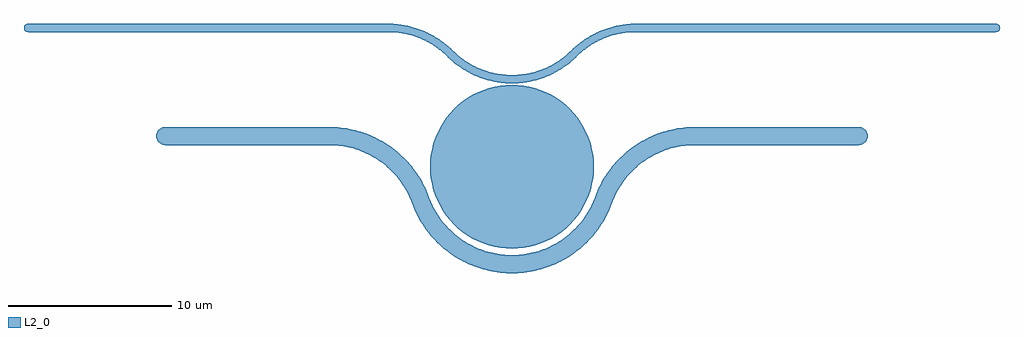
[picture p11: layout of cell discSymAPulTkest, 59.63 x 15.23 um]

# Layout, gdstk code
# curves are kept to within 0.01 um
import gdstk
lib = gdstk.Library(unit=1e-6, precision=1e-09)
def P(c, l, *ps):  # polygons
    for p in ps: c.add(gdstk.Polygon(p, *l))
L2_0 = (2, 0)

discsymapultkest = lib.new_cell('discSymAPulTkest')
P(discsymapultkest, L2_0, [(10,15),(9.643,15.013),(9.288,15.051),(8.937,15.114),(8.591,15.203),(8.253,15.315),(7.923,15.452),(7.604,15.612),(7.297,15.794),(7.004,15.997),(6.726,16.221),(6.464,16.464),(6.221,16.726),(5.997,17.004),(5.794,17.297),(5.612,17.604),(5.452,17.923),(5.315,18.253),(5.203,18.591),(5.114,18.937),(5.051,19.288),(5.013,19.643),(5,20),(5.013,20.357),(5.051,20.712),(5.114,21.063),(5.203,21.409),(5.315,21.747),(5.452,22.077),(5.612,22.396),(5.794,22.703),(5.997,22.996),(6.221,23.274),(6.464,23.536),(6.726,23.779),(7.004,24.003),(7.297,24.206),(7.604,24.388),(7.923,24.548),(8.253,24.685),(8.591,24.797),(8.937,24.886),(9.288,24.949),(9.643,24.987),(10,25),(10.357,24.987),(10.712,24.949),(11.063,24.886),(11.409,24.797),(11.747,24.685),(12.077,24.548),(12.396,24.388),(12.703,24.206),(12.996,24.003),(13.274,23.779),(13.536,23.536),(13.779,23.274),(14.003,22.996),(14.206,22.703),(14.388,22.396),(14.548,22.077),(14.685,21.747),(14.797,21.409),(14.886,21.063),(14.949,20.712),(14.987,20.357),(15,20),(14.987,19.643),(14.949,19.288),(14.886,18.937),(14.797,18.591),(14.685,18.253),(14.548,17.923),(14.388,17.604),(14.206,17.297),(14.003,17.004),(13.779,16.726),(13.536,16.464),(13.274,16.221),(12.996,15.997),(12.703,15.794),(12.396,15.612),(12.077,15.452),(11.747,15.315),(11.409,15.203),(11.063,15.114),(10.712,15.051),(10.357,15.013)],
  [(10,25.1),(9.401,25.132),(8.81,25.228),(8.327,25.356),(7.765,25.565),(7.316,25.785),(6.806,26.1),(6.409,26.403),(5.842,26.928),(5.563,27.162),(5.267,27.374),(4.958,27.566),(4.553,27.773),(4.045,27.973),(3.607,28.097),(3.07,28.194),(2.707,28.227),(2.434,28.234),(-19.566,28.234),(-19.566,28.734),(2.434,28.734),(3.033,28.702),(3.624,28.606),(4.107,28.478),(4.669,28.269),(5.118,28.049),(5.462,27.845),(5.869,27.556),(6.176,27.3),(6.66,26.846),(7.017,26.563),(7.476,26.268),(7.881,26.061),(8.389,25.861),(8.916,25.717),(9.455,25.629),(10,25.6),(10.545,25.629),(11.084,25.717),(11.611,25.861),(12.119,26.061),(12.524,26.268),(12.983,26.563),(13.34,26.846),(13.824,27.3),(14.131,27.556),(14.538,27.845),(14.882,28.049),(15.331,28.269),(15.893,28.478),(16.376,28.606),(16.967,28.702),(17.566,28.734),(39.566,28.734),(39.566,28.234),(17.566,28.234),(17.293,28.227),(16.93,28.194),(16.393,28.097),(15.955,27.973),(15.447,27.773),(15.042,27.566),(14.733,27.374),(14.437,27.162),(14.158,26.928),(13.591,26.403),(13.194,26.1),(12.684,25.785),(12.235,25.565),(11.673,25.356),(11.19,25.228),(10.599,25.132)],
  [(-19.566,28.234),(-19.663,28.254),(-19.743,28.307),(-19.796,28.387),(-19.816,28.484),(-19.796,28.581),(-19.743,28.661),(-19.663,28.714),(-19.566,28.734)],
  [(39.566,28.234),(39.566,28.734),(39.663,28.714),(39.743,28.661),(39.796,28.581),(39.816,28.484),(39.796,28.387),(39.743,28.307),(39.663,28.254)],
  [(10,13.5),(9.459,13.523),(8.922,13.59),(8.393,13.702),(7.874,13.857),(7.37,14.056),(6.885,14.295),(6.421,14.574),(6.125,14.781),(5.842,15.004),(5.44,15.367),(5.19,15.628),(4.843,16.043),(4.532,16.486),(4.258,16.953),(4.098,17.276),(3.782,18.056),(3.588,18.461),(3.278,18.974),(2.913,19.45),(2.497,19.882),(2.037,20.266),(1.536,20.596),(1.139,20.806),(0.864,20.927),(0.298,21.123),(-0.139,21.228),(-0.584,21.297),(-1.032,21.328),(-11.182,21.33),(-11.182,22.43),(-1.002,22.427),(-0.462,22.39),(0.073,22.308),(0.599,22.181),(1.113,22.011),(1.611,21.799),(1.933,21.635),(2.245,21.453),(2.546,21.254),(2.976,20.926),(3.247,20.687),(3.747,20.167),(4.186,19.595),(4.472,19.135),(4.72,18.654),(5.097,17.737),(5.302,17.337),(5.457,17.081),(5.626,16.833),(5.905,16.48),(6.212,16.151),(6.545,15.85),(6.903,15.577),(7.281,15.334),(7.679,15.124),(8.093,14.948),(8.52,14.807),(8.957,14.702),(9.401,14.633),(10,14.6),(10.599,14.633),(11.043,14.702),(11.48,14.807),(11.907,14.948),(12.321,15.124),(12.719,15.334),(13.097,15.577),(13.455,15.85),(13.788,16.151),(14.095,16.48),(14.374,16.833),(14.543,17.081),(14.698,17.337),(14.903,17.737),(15.28,18.654),(15.528,19.135),(15.814,19.595),(16.253,20.167),(16.753,20.687),(17.024,20.926),(17.454,21.254),(17.755,21.453),(18.067,21.635),(18.389,21.799),(18.887,22.011),(19.401,22.181),(19.927,22.308),(20.462,22.39),(21.002,22.427),(31.182,22.43),(31.182,21.33),(21.032,21.328),(20.584,21.297),(20.139,21.228),(19.702,21.123),(19.136,20.927),(18.861,20.806),(18.464,20.596),(17.963,20.266),(17.503,19.882),(17.087,19.45),(16.722,18.974),(16.412,18.461),(16.218,18.056),(15.902,17.276),(15.742,16.953),(15.468,16.486),(15.157,16.043),(14.81,15.628),(14.56,15.367),(14.158,15.004),(13.875,14.781),(13.579,14.574),(13.115,14.295),(12.63,14.056),(12.126,13.857),(11.607,13.702),(11.078,13.59),(10.541,13.523)],
  [(-11.182,21.33),(-11.293,21.341),(-11.396,21.373),(-11.49,21.424),(-11.571,21.491),(-11.638,21.572),(-11.689,21.666),(-11.721,21.769),(-11.732,21.88),(-11.721,21.991),(-11.689,22.094),(-11.571,22.269),(-11.49,22.336),(-11.396,22.387),(-11.293,22.419),(-11.182,22.43)],
  [(31.182,21.33),(31.182,22.43),(31.293,22.419),(31.396,22.387),(31.49,22.336),(31.571,22.269),(31.689,22.094),(31.721,21.991),(31.732,21.88),(31.721,21.769),(31.689,21.666),(31.638,21.572),(31.571,21.491),(31.49,21.424),(31.396,21.373),(31.293,21.341)])

lib.write_gds('discSymAPulTkest.gds')
